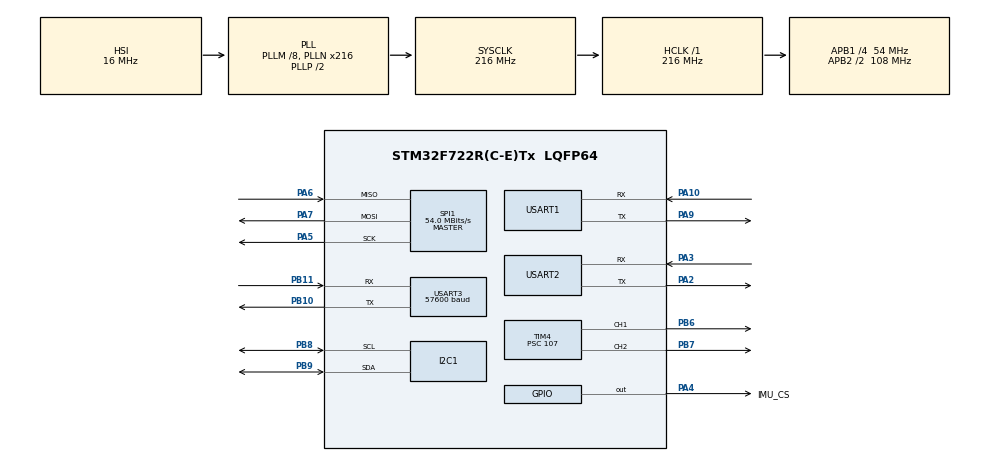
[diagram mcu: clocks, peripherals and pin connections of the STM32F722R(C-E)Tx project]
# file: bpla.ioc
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CORTEX_M7.default_mode_Activation=1
I2C1.Timing=0x20404768
Mcu.Family=STM32F7
Mcu.Name=STM32F722R(C-E)Tx
Mcu.Package=LQFP64
NVIC.PriorityGroup=NVIC_PRIORITYGROUP_4
NVIC.USART3_IRQn=true\:0\:0\:false\:false\:true\:true\:true\:true
PA10.Mode=Asynchronous
PA10.Signal=USART1_RX
PA2.Mode=Asynchronous
PA2.Signal=USART2_TX
PA3.Mode=Asynchronous
PA3.Signal=USART2_RX
PA4.GPIO_Label=IMU_CS
PA4.GPIO_PuPd=GPIO_PULLUP
PA4.PinState=GPIO_PIN_SET
PA4.Signal=GPIO_Output
PA5.Mode=Full_Duplex_Master
PA5.Signal=SPI1_SCK
PA6.Mode=Full_Duplex_Master
PA6.Signal=SPI1_MISO
PA7.Mode=Full_Duplex_Master
PA7.Signal=SPI1_MOSI
PA9.Mode=Asynchronous
PA9.Signal=USART1_TX
PB10.Mode=Asynchronous
PB10.Signal=USART3_TX
PB11.Mode=Asynchronous
PB11.Signal=USART3_RX
PB6.Signal=S_TIM4_CH1
PB7.Signal=S_TIM4_CH2
PB8.Mode=I2C
PB8.Signal=I2C1_SCL
PB9.Mode=I2C
PB9.Signal=I2C1_SDA
ProjectManager.HeapSize=0x200
ProjectManager.StackSize=0x400
ProjectManager.TargetToolchain=STM32CubeIDE
RCC.AHBFreq_Value=216000000
RCC.APB1CLKDivider=RCC_HCLK_DIV4
RCC.APB1Freq_Value=54000000
RCC.APB1TimFreq_Value=108000000
RCC.APB2CLKDivider=RCC_HCLK_DIV2
RCC.APB2Freq_Value=108000000
RCC.APB2TimFreq_Value=216000000
RCC.CortexFreq_Value=216000000
RCC.HCLKFreq_Value=216000000
RCC.HSE_VALUE=27000000
RCC.HSI_VALUE=16000000
RCC.LSE_VALUE=32768
RCC.PLL48CLockSelection=RCC_CLK48SOURCE_PLLSAIP
RCC.PLLM=8
RCC.PLLN=216
RCC.PLLQ=9
RCC.SYSCLKFreq_VALUE=216000000
RCC.SYSCLKSource=RCC_SYSCLKSOURCE_PLLCLK
RCC.USBFreq_Value=192000000
RCC.VCOOutputFreq_Value=432000000
SH.S_TIM4_CH1.0=TIM4_CH1,PWM Generation1 CH1
SH.S_TIM4_CH2.0=TIM4_CH2,PWM Generation2 CH2
SPI1.BaudRatePrescaler=SPI_BAUDRATEPRESCALER_2
SPI1.CLKPhase=SPI_PHASE_2EDGE
SPI1.CLKPolarity=SPI_POLARITY_HIGH
SPI1.CalculateBaudRate=54.0 MBits/s
SPI1.DataSize=SPI_DATASIZE_8BIT
SPI1.Direction=SPI_DIRECTION_2LINES
SPI1.Mode=SPI_MODE_MASTER
SPI1.VirtualType=VM_MASTER
TIM4.Channel-PWM\ Generation1\ CH1=TIM_CHANNEL_1
TIM4.Channel-PWM\ Generation2\ CH2=TIM_CHANNEL_2
TIM4.Period=2000
TIM4.Prescaler=107
USART1.VirtualMode-Asynchronous=VM_ASYNC
USART2.VirtualMode-Asynchronous=VM_ASYNC
USART3.BaudRate=57600
USART3.VirtualMode-Asynchronous=VM_ASYNC
VP_TIM4_VS_ClockSourceINT.Mode=Internal
board=custom

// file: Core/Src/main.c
/* USER CODE BEGIN Header */
/**
  ******************************************************************************
  * @file           : main.c
  * @brief          : Main program body
  ******************************************************************************
  * @attention
  *
  * Copyright (c) 2026 STMicroelectronics.
  * All rights reserved.
  *
  * This software is licensed under terms that can be found in the LICENSE file
  * in the root directory of this software component.
  * If no LICENSE file comes with this software, it is provided AS-IS.
  *
  ******************************************************************************
  */
/* USER CODE END Header */
#include "main.h"

/* USER CODE BEGIN Includes */
#include <math.h>
#include <stdio.h>
#define IBUS_FRAME_SIZE 32
#define IBUS_CHANNELS 14

uint8_t ibus_rx_buffer[IBUS_FRAME_SIZE];
uint16_t ibus_channels[IBUS_CHANNELS];

/* USER CODE END Includes */

/* USER CODE BEGIN PTD */
int _write(int file, char *ptr, int len){ //printf для uart
	HAL_UART_Transmit(&huart3, (uint8_t*) ptr, len, 100); return len;
}
/* USER CODE END PTD */

I2C_HandleTypeDef hi2c1;

SPI_HandleTypeDef hspi1;

TIM_HandleTypeDef htim4;

UART_HandleTypeDef huart1;
UART_HandleTypeDef huart2;
UART_HandleTypeDef huart3;

void SystemClock_Config(void);
static void MPU_Config(void);
static void MX_GPIO_Init(void);
static void MX_USART2_UART_Init(void);
static void MX_TIM4_Init(void);
static void MX_SPI1_Init(void);
static void MX_USART1_UART_Init(void);
static void MX_USART3_UART_Init(void);
static void MX_I2C1_Init(void);

int main(void)
{

  /* MPU Configuration--------------------------------------------------------*/
  MPU_Config();

  /* MCU Configuration--------------------------------------------------------*/

  /* Reset of all peripherals, Initializes the Flash interface and the Systick. */
  HAL_Init();

  /* USER CODE BEGIN Init */
  #define REG_ADDR_APP 0x28 // APP is Air pressure probe
  #define PASCAL_VAL 6894.76f

  int8_t data_raw_APP[4] = {0};
  int16_t data_pressure = 0;
  int16_t data_temp = 0;

  HAL_I2C_Master_Receive(&hi2c1, REG_ADDR_APP, data_raw_APP, 100);

  data_pressure = (int16_t)(((data_raw_APP[0] & 0x3F) << 8) | data_raw_APP[0]);

  data_temp = (int16_t)((data_raw_APP[0] << 3) | (data_raw_APP[0] << 5));

  float output_data_pa = (((((float)data_pressure)-(0.1 * 16383))*(2 * PASCAL_VAL))/(0.8 * 16383))-PASCAL_VAL; //данные в паскалях

  enum{seting=1, update_imu, fltr, el_work,};
  int s = 0;

  #define K_DRONE 0.01f

  uint32_t last_tick = 0;
  float angleX_gyro = 0, angleY_gyro = 0; //angleZ_gyro = 0;
  float yaw = 0;
  float angle_roll = 0, angle_pitch = 0;

  void update_fltr(void){
	  uint32_t current_tick = HAL_GetTick();
	  float dt = (current_tick - last_tick) / 1000.0f;
	  last_tick = current_tick;
	  angleX_gyro += imu.gx*dt;
	  angleY_gyro += imu.gy*dt;
	  yaw += imu.gz*dt;

	  float acc_roll  = atan2f(imu.ay, imu.az);
	  float acc_pitch = atan2f(-imu.ax, sqrtf(imu.ay*imu.ay + imu.az*imu.az));
	  angle_roll  = (1.0f - K_DRONE) * (angle_roll  + imu.gx * dt) + K_DRONE * acc_roll;
	  angle_pitch = (1.0f - K_DRONE) * (angle_pitch + imu.gy * dt) + K_DRONE * acc_pitch;
  }

  switch(s){
  	  case(seting):
  			  printf("IMU настроенно");
  	  case(update_imu):
  			  printf("обновление данных IMU");
  	  case(fltr):
  			  printf("комплементарный фильтр сработал");
  	  case(el_work):
  			  printf("элевоны должны рабоать");
  	  	  	  printf("значение углов крен: %.2f тангаж: %.2f рысканье: %.2f\r\n", angle_roll, angle_pitch, yaw);

  }
  /* USER CODE END Init */

  /* Configure the system clock */
  SystemClock_Config();

  /* Initialize all configured peripherals */
  MX_GPIO_Init();
  MX_USART2_UART_Init();
  MX_TIM4_Init();
  MX_SPI1_Init();
  MX_USART1_UART_Init();
  MX_USART3_UART_Init();
  MX_I2C1_Init();
  /* USER CODE BEGIN 2 */
 // HAL_UART_Receive_DMA(&huart2, ibus_rx_buffer, 32);
  HAL_TIM_PWM_Start(&htim4, TIM_CHANNEL_1);
  HAL_TIM_PWM_Start(&htim4, TIM_CHANNEL_2);

  //AccelData data_acc;
  setup_function_imu(); //выставляем конфигурацию
  s = seting;
  /* USER CODE END 2 */

  /* Infinite loop */
  while (1)
  {

    /* USER CODE BEGIN 3 */
	  // проверка связи на IMU
	  IMU_data_update();
	  s = update_imu;
	  //printf("state %d\r\n", IMU_data_update());
	  //Радио (USART3)
	  //uint16_t my_messgae = get_data_accel_axis(0x1F);

	  //HAL_UART_Transmit(&huart3, (uint8_t*)my_messgae, 4, 100);
	  update_fltr();
	  s = fltr;

	  float Kp = 500.0f;

	  // Рассчитываем отклонение (в радианах * коэффициент)
	  float pitch_corr = angle_pitch * Kp;
	  float roll_corr  = angle_roll  * Kp;

	  int16_t right_elevon = 1500 + (int16_t)(pitch_corr + roll_corr);
	  int16_t left_elevon  = 1500 + (int16_t)(pitch_corr - roll_corr);

	  if(right_elevon > 2000) right_elevon = 1990;
	  if(right_elevon < 1000) right_elevon = 1000;
	  if(left_elevon > 2000)  left_elevon = 1990;
	  if(left_elevon < 1000)  left_elevon = 1000;

	  TIM4 -> CCR1 = right_elevon;
	  TIM4 -> CCR2 = left_elevon;
	  s = el_work;
	  HAL_Delay(100);

	  //converted_accel_data(&data_acc);
	  //converted_gyro_data(&data_gyro);

	  //printf("%.2f %.2f %.2f\r\n",imu.gx, imu.gy, imu.gz);
	  //printf("accel %d %d %d gyro %d %d %d\r\n",imu.ax, imu.ay, imu.az, imu.gx, imu.gy, imu.gz);
	  //printf(

	  //a(t) = a(t-1) + gx*dt ;

/////////////////

	  if (ibus_rx_buffer[0] == 0x20 && ibus_rx_buffer[1] == 0x40){
		  uint16_t calculate = 0xFFFF;
		  for(int i = 0; i < 30; i++){
			  calculate -= ibus_rx_buffer[i];
		  }

		  uint16_t rbp = 0x0000;
		  rbp = ibus_rx_buffer[31];
		  rbp = (rbp << 8);

		  if (calculate == rbp | ibus_rx_buffer[30]){
			  for (int ch = 0; ch < 6; ch++) {
			             ibus_channels[ch] = ibus_rx_buffer[2 + ch*2] | (ibus_rx_buffer[3 + ch*2] << 8);
			         }

			  //значения крена (roll) и тангажа (pitch) 1000-2000
			  // тангаж ch2 крен ch1
			  int16_t roll = ((int16_t)ibus_channels[1]-1500)/2;
			  int16_t pitch = ((int16_t)ibus_channels[2]-1500)/2;

	  	  	  //int16_t pitch2 = 200;
	  	  	  //int16_t roll2 =100;
			  int16_t right_elevon = 1500+pitch+roll;
			  int16_t left_elevon = 1500+pitch-roll;
			  //int16_t right_elevon = 1000;
			  //int16_t left_elevon = 1000;

			  TIM4 -> CCR1 = right_elevon;
			  TIM4 -> CCR2 = left_elevon;
		  }
	  }

	  //применение конфигурации

	  //получение данных с акселерометра
	  //int16_t data_accel_x = get_data_accel_axis(0x1F);
	  //int16_t data_accel_y = get_data_accel_axis(0x21);
	  //int16_t data_accel_z = get_data_accel_axis(0x23);

	  //uint8_t data_accel_upper_x = 0x1F | 0x80;
	  //uint8_t data_accel_buff[2];

	  //HAL_SPI_Transmit(&hspi1, &data_accel_upper_x, 1, 100);
	  //HAL_SPI_Receive(&hspi1, data_accel_buff, 2, 100);

	  //получение данных с гироскопа
	  //int16_t data_gyro_x = get_data_gyro_axis(0x25);
	  //int16_t data_gyro_y = get_data_gyro_axis(0x27);
	  //int16_t data_gyro_z = get_data_gyro_axis(0x29);

	  //a(t) = (1-K) * (a(t-1) + gx*dt) + K * acc
	  // https://robotclass.ru/articles/complementary-filter/

//	  uint16_t data_accel_x = (uint16_t)((data_accel_buff[0] << 8) | data_accel_buff[1]);

	  // Формируем строку
	  //char *msg = "Hello world!\r\n";
	  //CDC_Transmit_FS((uint8_t*)msg, strlen(msg));

	  //HAL_Delay(1000); // Пауза 1 секунда
 																					//	!!!!!!!!!!!!!!!!!!!!
/////////////////////////////////////////////////////////////////

  }
  /* USER CODE END 3 */
}

void SystemClock_Config(void)
{
  RCC_OscInitTypeDef RCC_OscInitStruct = {0};
  RCC_ClkInitTypeDef RCC_ClkInitStruct = {0};

  /** Configure the main internal regulator output voltage
  */
  __HAL_RCC_PWR_CLK_ENABLE();
  __HAL_PWR_VOLTAGESCALING_CONFIG(PWR_REGULATOR_VOLTAGE_SCALE1);

  /** Initializes the RCC Oscillators according to the specified parameters
  * in the RCC_OscInitTypeDef structure.
  */
  RCC_OscInitStruct.OscillatorType = RCC_OSCILLATORTYPE_HSI;
  RCC_OscInitStruct.HSIState = RCC_HSI_ON;
  RCC_OscInitStruct.HSICalibrationValue = RCC_HSICALIBRATION_DEFAULT;
  RCC_OscInitStruct.PLL.PLLState = RCC_PLL_ON;
  RCC_OscInitStruct.PLL.PLLSource = RCC_PLLSOURCE_HSI;
  RCC_OscInitStruct.PLL.PLLM = 8;
  RCC_OscInitStruct.PLL.PLLN = 216;
  RCC_OscInitStruct.PLL.PLLP = RCC_PLLP_DIV2;
  RCC_OscInitStruct.PLL.PLLQ = 9;
  if (HAL_RCC_OscConfig(&RCC_OscInitStruct) != HAL_OK)
  {
    Error_Handler();
  }

  /** Activate the Over-Drive mode
  */
  if (HAL_PWREx_EnableOverDrive() != HAL_OK)
  {
    Error_Handler();
  }

  /** Initializes the CPU, AHB and APB buses clocks
  */
  RCC_ClkInitStruct.ClockType = RCC_CLOCKTYPE_HCLK|RCC_CLOCKTYPE_SYSCLK
                              |RCC_CLOCKTYPE_PCLK1|RCC_CLOCKTYPE_PCLK2;
  RCC_ClkInitStruct.SYSCLKSource = RCC_SYSCLKSOURCE_PLLCLK;
  RCC_ClkInitStruct.AHBCLKDivider = RCC_SYSCLK_DIV1;
  RCC_ClkInitStruct.APB1CLKDivider = RCC_HCLK_DIV4;
  RCC_ClkInitStruct.APB2CLKDivider = RCC_HCLK_DIV2;

  if (HAL_RCC_ClockConfig(&RCC_ClkInitStruct, FLASH_LATENCY_7) != HAL_OK)
  {
    Error_Handler();
  }
}

static void MX_I2C1_Init(void)
{

  hi2c1.Instance = I2C1;
  hi2c1.Init.Timing = 0x20404768;
  hi2c1.Init.OwnAddress1 = 0;
  hi2c1.Init.AddressingMode = I2C_ADDRESSINGMODE_7BIT;
  hi2c1.Init.DualAddressMode = I2C_DUALADDRESS_DISABLE;
  hi2c1.Init.OwnAddress2 = 0;
  hi2c1.Init.OwnAddress2Masks = I2C_OA2_NOMASK;
  hi2c1.Init.GeneralCallMode = I2C_GENERALCALL_DISABLE;
  hi2c1.Init.NoStretchMode = I2C_NOSTRETCH_DISABLE;
  if (HAL_I2C_Init(&hi2c1) != HAL_OK)
  {
    Error_Handler();
  }

  /** Configure Analogue filter
  */
  if (HAL_I2CEx_ConfigAnalogFilter(&hi2c1, I2C_ANALOGFILTER_ENABLE) != HAL_OK)
  {
    Error_Handler();
  }

  /** Configure Digital filter
  */
  if (HAL_I2CEx_ConfigDigitalFilter(&hi2c1, 0) != HAL_OK)
  {
    Error_Handler();
  }

}

static void MX_SPI1_Init(void)
{

  /* SPI1 parameter configuration*/
  hspi1.Instance = SPI1;
  hspi1.Init.Mode = SPI_MODE_MASTER;
  hspi1.Init.Direction = SPI_DIRECTION_2LINES;
  hspi1.Init.DataSize = SPI_DATASIZE_8BIT;
  hspi1.Init.CLKPolarity = SPI_POLARITY_HIGH;
  hspi1.Init.CLKPhase = SPI_PHASE_2EDGE;
  hspi1.Init.NSS = SPI_NSS_SOFT;
  hspi1.Init.BaudRatePrescaler = SPI_BAUDRATEPRESCALER_2;
  hspi1.Init.FirstBit = SPI_FIRSTBIT_MSB;
  hspi1.Init.TIMode = SPI_TIMODE_DISABLE;
  hspi1.Init.CRCCalculation = SPI_CRCCALCULATION_DISABLE;
  hspi1.Init.CRCPolynomial = 7;
  hspi1.Init.CRCLength = SPI_CRC_LENGTH_DATASIZE;
  hspi1.Init.NSSPMode = SPI_NSS_PULSE_DISABLE;
  if (HAL_SPI_Init(&hspi1) != HAL_OK)
  {
    Error_Handler();
  }

}

static void MX_TIM4_Init(void)
{

  TIM_ClockConfigTypeDef sClockSourceConfig = {0};
  TIM_MasterConfigTypeDef sMasterConfig = {0};
  TIM_OC_InitTypeDef sConfigOC = {0};

  htim4.Instance = TIM4;
  htim4.Init.Prescaler = 107;
  htim4.Init.CounterMode = TIM_COUNTERMODE_UP;
  htim4.Init.Period = 2000;
  htim4.Init.ClockDivision = TIM_CLOCKDIVISION_DIV1;
  htim4.Init.AutoReloadPreload = TIM_AUTORELOAD_PRELOAD_DISABLE;
  if (HAL_TIM_Base_Init(&htim4) != HAL_OK)
  {
    Error_Handler();
  }
  sClockSourceConfig.ClockSource = TIM_CLOCKSOURCE_INTERNAL;
  if (HAL_TIM_ConfigClockSource(&htim4, &sClockSourceConfig) != HAL_OK)
  {
    Error_Handler();
  }
  if (HAL_TIM_PWM_Init(&htim4) != HAL_OK)
  {
    Error_Handler();
  }
  sMasterConfig.MasterOutputTrigger = TIM_TRGO_RESET;
  sMasterConfig.MasterSlaveMode = TIM_MASTERSLAVEMODE_DISABLE;
  if (HAL_TIMEx_MasterConfigSynchronization(&htim4, &sMasterConfig) != HAL_OK)
  {
    Error_Handler();
  }
  sConfigOC.OCMode = TIM_OCMODE_PWM1;
  sConfigOC.Pulse = 0;
  sConfigOC.OCPolarity = TIM_OCPOLARITY_HIGH;
  sConfigOC.OCFastMode = TIM_OCFAST_DISABLE;
  if (HAL_TIM_PWM_ConfigChannel(&htim4, &sConfigOC, TIM_CHANNEL_1) != HAL_OK)
  {
    Error_Handler();
  }
  if (HAL_TIM_PWM_ConfigChannel(&htim4, &sConfigOC, TIM_CHANNEL_2) != HAL_OK)
  {
    Error_Handler();
  }
  HAL_TIM_MspPostInit(&htim4);

}

static void MX_USART1_UART_Init(void)
{

  huart1.Instance = USART1;
  huart1.Init.BaudRate = 115200;
  huart1.Init.WordLength = UART_WORDLENGTH_8B;
  huart1.Init.StopBits = UART_STOPBITS_1;
  huart1.Init.Parity = UART_PARITY_NONE;
  huart1.Init.Mode = UART_MODE_TX_RX;
  huart1.Init.HwFlowCtl = UART_HWCONTROL_NONE;
  huart1.Init.OverSampling = UART_OVERSAMPLING_16;
  huart1.Init.OneBitSampling = UART_ONE_BIT_SAMPLE_DISABLE;
  huart1.AdvancedInit.AdvFeatureInit = UART_ADVFEATURE_NO_INIT;
  if (HAL_UART_Init(&huart1) != HAL_OK)
  {
    Error_Handler();
  }

}

static void MX_USART2_UART_Init(void)
{

  huart2.Instance = USART2;
  huart2.Init.BaudRate = 115200;
  huart2.Init.WordLength = UART_WORDLENGTH_8B;
  huart2.Init.StopBits = UART_STOPBITS_1;
  huart2.Init.Parity = UART_PARITY_NONE;
  huart2.Init.Mode = UART_MODE_TX_RX;
  huart2.Init.HwFlowCtl = UART_HWCONTROL_NONE;
  huart2.Init.OverSampling = UART_OVERSAMPLING_16;
  huart2.Init.OneBitSampling = UART_ONE_BIT_SAMPLE_DISABLE;
  huart2.AdvancedInit.AdvFeatureInit = UART_ADVFEATURE_NO_INIT;
  if (HAL_UART_Init(&huart2) != HAL_OK)
  {
    Error_Handler();
  }

}

static void MX_USART3_UART_Init(void)
{

  huart3.Instance = USART3;
  huart3.Init.BaudRate = 57600;
  huart3.Init.WordLength = UART_WORDLENGTH_8B;
  huart3.Init.StopBits = UART_STOPBITS_1;
  huart3.Init.Parity = UART_PARITY_NONE;
  huart3.Init.Mode = UART_MODE_TX_RX;
  huart3.Init.HwFlowCtl = UART_HWCONTROL_NONE;
  huart3.Init.OverSampling = UART_OVERSAMPLING_16;
  huart3.Init.OneBitSampling = UART_ONE_BIT_SAMPLE_DISABLE;
  huart3.AdvancedInit.AdvFeatureInit = UART_ADVFEATURE_NO_INIT;
  if (HAL_UART_Init(&huart3) != HAL_OK)
  {
    Error_Handler();
  }

}

static void MX_GPIO_Init(void)
{
  GPIO_InitTypeDef GPIO_InitStruct = {0};

  /* GPIO Ports Clock Enable */
  __HAL_RCC_GPIOA_CLK_ENABLE();
  __HAL_RCC_GPIOB_CLK_ENABLE();

  /*Configure GPIO pin Output Level */
  HAL_GPIO_WritePin(IMU_CS_GPIO_Port, IMU_CS_Pin, GPIO_PIN_SET);

  /*Configure GPIO pin : IMU_CS_Pin */
  GPIO_InitStruct.Pin = IMU_CS_Pin;
  GPIO_InitStruct.Mode = GPIO_MODE_OUTPUT_PP;
  GPIO_InitStruct.Pull = GPIO_PULLUP;
  GPIO_InitStruct.Speed = GPIO_SPEED_FREQ_LOW;
  HAL_GPIO_Init(IMU_CS_GPIO_Port, &GPIO_InitStruct);

}

 /* MPU Configuration */

void MPU_Config(void)
{
  MPU_Region_InitTypeDef MPU_InitStruct = {0};

  /* Disables the MPU */
  HAL_MPU_Disable();

  /** Initializes and configures the Region and the memory to be protected
  */
  MPU_InitStruct.Enable = MPU_REGION_ENABLE;
  MPU_InitStruct.Number = MPU_REGION_NUMBER0;
  MPU_InitStruct.BaseAddress = 0x0;
  MPU_InitStruct.Size = MPU_REGION_SIZE_4GB;
  MPU_InitStruct.SubRegionDisable = 0x87;
  MPU_InitStruct.TypeExtField = MPU_TEX_LEVEL0;
  MPU_InitStruct.AccessPermission = MPU_REGION_NO_ACCESS;
  MPU_InitStruct.DisableExec = MPU_INSTRUCTION_ACCESS_DISABLE;
  MPU_InitStruct.IsShareable = MPU_ACCESS_SHAREABLE;
  MPU_InitStruct.IsCacheable = MPU_ACCESS_NOT_CACHEABLE;
  MPU_InitStruct.IsBufferable = MPU_ACCESS_NOT_BUFFERABLE;

  HAL_MPU_ConfigRegion(&MPU_InitStruct);
  /* Enables the MPU */
  HAL_MPU_Enable(MPU_PRIVILEGED_DEFAULT);

}

void Error_Handler(void)
{
  __disable_irq();
  while (1)
  {
  }
}
